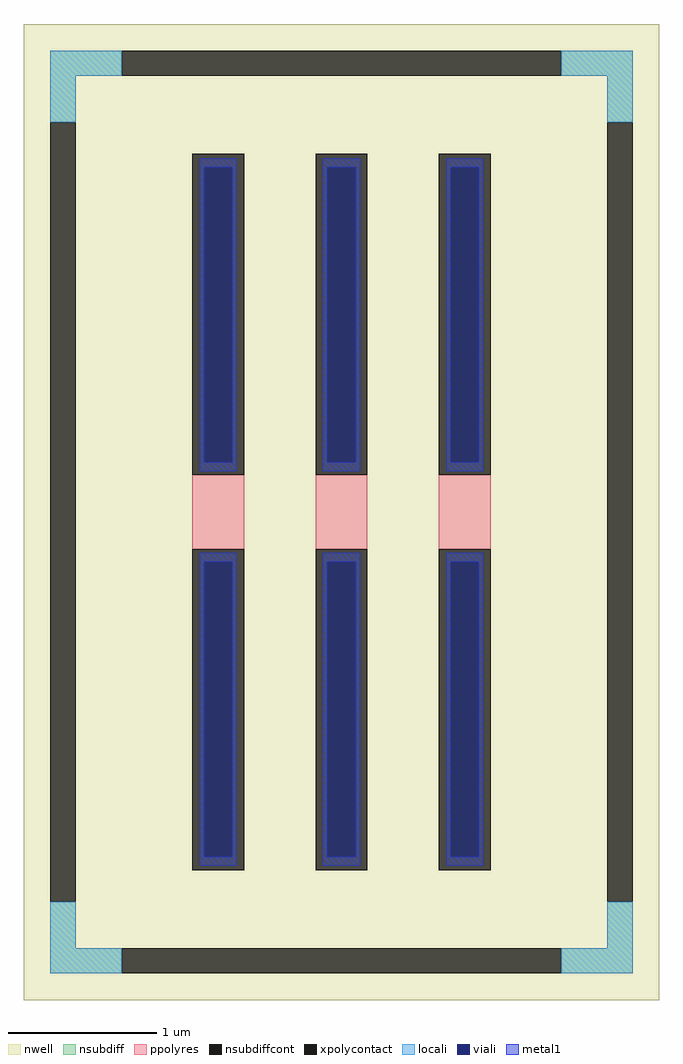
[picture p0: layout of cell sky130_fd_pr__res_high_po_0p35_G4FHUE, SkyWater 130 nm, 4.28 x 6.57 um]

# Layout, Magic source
magic
tech sky130A
magscale 1 2
<< nwell >>
rect -428 -657 428 657
<< nsubdiff >>
rect -392 587 -296 621
rect 296 587 392 621
rect -392 525 -358 587
rect 358 525 392 587
rect -392 -587 -358 -525
rect 358 -587 392 -525
rect -392 -621 -296 -587
rect 296 -621 392 -587
<< nsubdiffcont >>
rect -296 587 296 621
rect -392 -525 -358 525
rect 358 -525 392 525
rect -296 -621 296 -587
<< xpolycontact >>
rect -201 50 -131 482
rect -201 -482 -131 -50
rect -35 50 35 482
rect -35 -482 35 -50
rect 131 50 201 482
rect 131 -482 201 -50
<< ppolyres >>
rect -201 -50 -131 50
rect -35 -50 35 50
rect 131 -50 201 50
<< locali >>
rect -392 587 -296 621
rect 296 587 392 621
rect -392 525 -358 587
rect 358 525 392 587
rect -392 -587 -358 -525
rect 358 -587 392 -525
rect -392 -621 -296 -587
rect 296 -621 392 -587
<< viali >>
rect -185 67 -147 464
rect -19 67 19 464
rect 147 67 185 464
rect -185 -464 -147 -67
rect -19 -464 19 -67
rect 147 -464 185 -67
<< metal1 >>
rect -191 464 -141 476
rect -191 67 -185 464
rect -147 67 -141 464
rect -191 55 -141 67
rect -25 464 25 476
rect -25 67 -19 464
rect 19 67 25 464
rect -25 55 25 67
rect 141 464 191 476
rect 141 67 147 464
rect 185 67 191 464
rect 141 55 191 67
rect -191 -67 -141 -55
rect -191 -464 -185 -67
rect -147 -464 -141 -67
rect -191 -476 -141 -464
rect -25 -67 25 -55
rect -25 -464 -19 -67
rect 19 -464 25 -67
rect -25 -476 25 -464
rect 141 -67 191 -55
rect 141 -464 147 -67
rect 185 -464 191 -67
rect 141 -476 191 -464
<< properties >>
string FIXED_BBOX -375 -604 375 604
string gencell sky130_fd_pr__res_high_po_0p35
string library sky130
string parameters w 0.35 l 0.5 m 1 nx 3 wmin 0.350 lmin 0.50 rho 319.8 val 1.57k dummy 0 dw 0.0 term 194.82 sterm 0.0 caplen 0 guard 1 glc 1 grc 1 gtc 1 gbc 1 compatible {sky130_fd_pr__res_high_po_0p35  sky130_fd_pr__res_high_po_0p69 sky130_fd_pr__res_high_po_1p41  sky130_fd_pr__res_high_po_2p85 sky130_fd_pr__res_high_po_5p73} snake 0 full_metal 1 wmax 0.350 vias 1 n_guard 1 hv_guard 0 viagb 0 viagt 0 viagl 0 viagr 0
<< end >>
